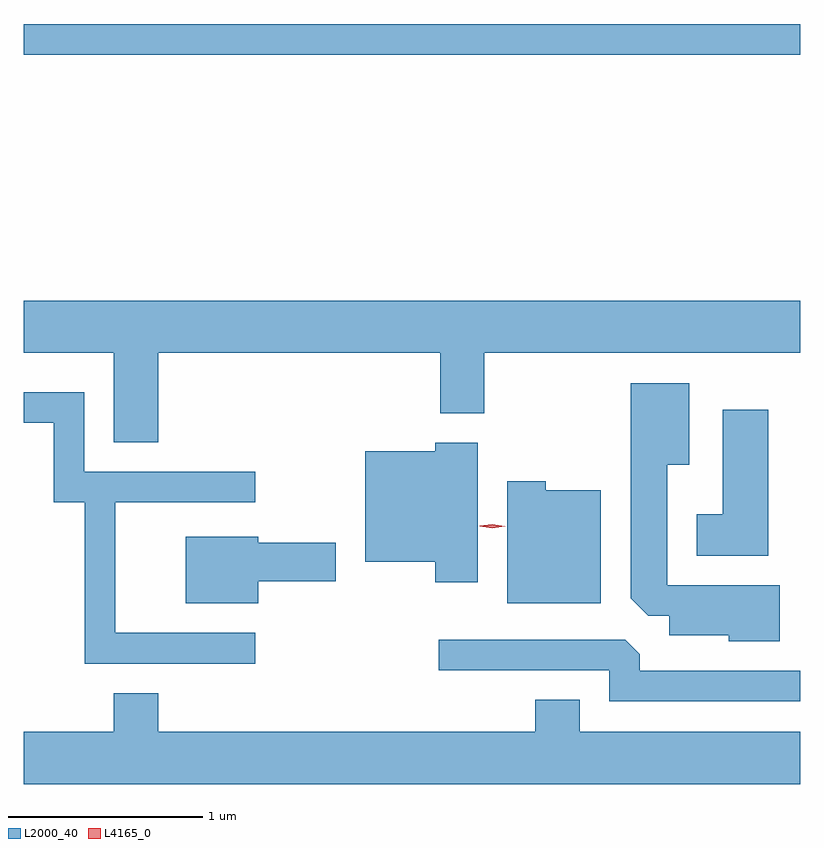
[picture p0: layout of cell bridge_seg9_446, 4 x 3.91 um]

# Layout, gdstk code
import gdstk
lib = gdstk.Library(unit=1e-6, precision=1e-09)
def R(c, l, rs):  # rectangles x0, y0, x1, y1
    for r in rs: c.add(gdstk.rectangle(r[:2], r[2:], *l))
def P(c, l, *ps):  # polygons
    for p in ps: c.add(gdstk.Polygon(p, *l))
L2000_40 = (2000, 40)
L4165_0 = (4165, 0)

bridge_seg9_446 = lib.new_cell('bridge_seg9_446')
R(bridge_seg9_446, L2000_40, [(319.736,2000.011,323.736,2000.169)])
P(bridge_seg9_446, L2000_40, [(320.429,1998.476),(321.881,1998.476),(321.881,1998.166),(322.109,1998.166),(322.109,1998.476),(323.736,1998.476),(323.736,1998.744),(319.736,1998.744),(319.736,1998.476),(320.201,1998.476),(320.201,1998.016),(320.429,1998.016)],
  [(323.629,1997.279),(323.049,1997.279),(323.049,1997.901),(323.164,1997.901),(323.164,1998.319),(322.861,1998.319),(322.861,1997.212),(322.952,1997.121),(323.061,1997.121),(323.061,1997.021),(323.366,1997.021),(323.366,1996.991),(323.629,1996.991)],
  [(320.928,1997.034),(320.209,1997.034),(320.209,1997.706),(320.928,1997.706),(320.928,1997.864),(320.049,1997.864),(320.049,1998.274),(319.736,1998.274),(319.736,1998.116),(319.891,1998.116),(319.891,1997.706),(320.051,1997.706),(320.051,1996.876),(320.928,1996.876)],
  [(323.569,1998.184),(323.336,1998.184),(323.336,1997.644),(323.201,1997.644),(323.201,1997.431),(323.569,1997.431)],
  [(322.074,1998.014),(321.856,1998.014),(321.856,1997.969),(321.496,1997.969),(321.496,1997.401),(321.856,1997.401),(321.856,1997.296),(322.074,1997.296)],
  [(322.709,1997.769),(322.424,1997.769),(322.424,1997.814),(322.226,1997.814),(322.226,1997.186),(322.709,1997.186)],
  [(320.944,1997.301),(321.344,1997.301),(321.344,1997.499),(320.944,1997.499),(320.944,1997.529),(320.571,1997.529),(320.571,1997.186),(320.944,1997.186)],
  [(323.736,1996.839),(322.909,1996.839),(322.909,1996.924),(322.834,1996.999),(321.873,1996.999),(321.873,1996.841),(322.751,1996.841),(322.751,1996.681),(323.736,1996.681)],
  [(323.736,1996.524),(322.599,1996.524),(322.599,1996.689),(322.371,1996.689),(322.371,1996.524),(320.429,1996.524),(320.429,1996.724),(320.201,1996.724),(320.201,1996.524),(319.736,1996.524),(319.736,1996.256),(323.736,1996.256)])
P(bridge_seg9_446, L4165_0, [(322.15,1997.573),(322.084,1997.584),(322.084,1997.584),(322.084,1997.585),(322.15,1997.593),(322.216,1997.583),(322.217,1997.582),(322.216,1997.582)])

lib.write_gds('bridge_seg9_446.gds')
